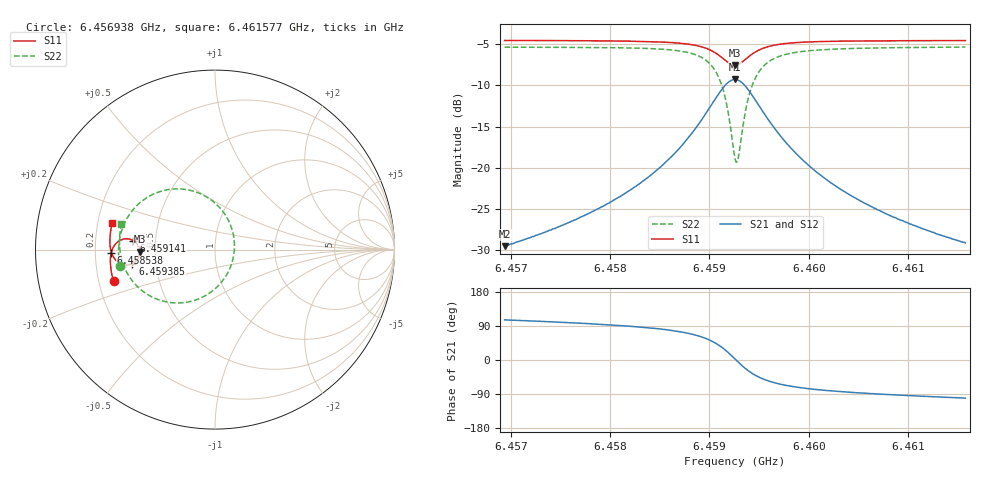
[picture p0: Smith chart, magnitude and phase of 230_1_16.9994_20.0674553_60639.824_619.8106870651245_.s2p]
#  HZ  S  RI  R  50.00
! Rohde & Schwarz Vector Network Analyzer
! Rohde-Schwarz,ZNB20-2Port,1311601062101988,3.16
! Created: UTC 3/20/2024, 11:02:20 PM
! freq[Hz]  re:S11  im:S11  re:S21  im:S21  re:S12  im:S12  re:S22  im:S22
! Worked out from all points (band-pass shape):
!   401 points, 6.456938 GHz to 6.461577 GHz, reference 50 ohm
!   highest |S21| = -9.28 dB at 6.459257 GHz (marker M1); lowest = -29.5 dB at 6.456938 GHz (marker M2)
!   |S21| within 3 dB of the highest: 6.459025 GHz to 6.459489 GHz (463.6 kHz wide, 0.00718 % of centre)
!   lowest |S11| = -7.6 dB at 6.459257 GHz (marker M3), VSWR 2.44, Z = 20.5 - j0.618 ohm
!   |S11| at or under -10 dB: nowhere
!   |S22| runs from -19.3 to -5.3 dB; largest |S21 - S12| = 0.013
!   S11 on the Smith chart (normalised r, x): 6.456938 GHz: 0.26, -0.14; 6.458538 GHz: 0.27, -0.01; 6.459141 GHz: 0.37, +0.05; 6.459385 GHz: 0.37, -0.07; 6.461577 GHz: 0.26, +0.12
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6.4569382e9  -0.5653 -0.1762  -0.00915 0.0321  -0.00745 0.0322  -0.5308 -0.092
6.4577151e9  -0.58 -0.1084  -0.00605 0.0501  -0.00345 0.0496  -0.5374 -0.00152
6.458121e9  -0.5831 -0.0682  -0.000753 0.068  0.00251 0.0668  -0.5307 0.0619
6.4584921e9  -0.5797 -0.0243  0.0135 0.0982  0.0174 0.0956  -0.5054 0.1441
6.4585384e9  -0.5784 -0.0179  0.0167 0.1038  0.0208 0.1007  -0.4992 0.1573
6.4587472e9  -0.5662 0.0139  0.0426 0.1353  0.0468 0.1307  -0.4509 0.229
6.4588979e9  -0.5451 0.0403  0.0849 0.1659  0.0882 0.1593  -0.3729 0.2937
6.4590487e9  -0.4991 0.0601  0.1765 0.1852  0.1776 0.1778  -0.2057 0.3384
6.4591414e9  -0.4548 0.0501  0.2661 0.1545  0.2666 0.1486  -0.0396 0.2892
6.4591878e9  -0.4336 0.0314  0.3097 0.1118  0.3111 0.1066  0.0431 0.2135
6.4592574e9  -0.4189 -0.0124  0.343 0.0157  0.3467 0.00863  0.1082 0.0348
6.459269e9  -0.4192 -0.0206  0.343 -0.00212  0.3467 -0.00969  0.1079 0.0014
6.4592922e9  -0.4228 -0.036  0.3374 -0.0366  0.3413 -0.0457  0.0972 -0.064
6.4593386e9  -0.4383 -0.0619  0.3092 -0.0962  0.3115 -0.1079  0.0401 -0.1764
6.459385e9  -0.4601 -0.078  0.2676 -0.137  0.2669 -0.15  -0.0438 -0.251
6.4594777e9  -0.5032 -0.0848  0.1836 -0.1682  0.1776 -0.1797  -0.2111 -0.2974
6.4596285e9  -0.5469 -0.0645  0.0964 -0.1549  0.088 -0.1611  -0.3776 -0.2491
6.4597908e9  -0.5683 -0.0368  0.0518 -0.1275  0.0442 -0.1304  -0.4578 -0.178
6.4600343e9  -0.5811 -0.00129  0.0226 -0.0964  0.0168 -0.097  -0.5059 -0.0962
6.460359e9  -0.5856 0.0372  0.00729 -0.0712  0.00317 -0.0707  -0.5272 -0.0216
6.4608113e9  -0.5839 0.0828  -0.00131 -0.0515  -0.00395 -0.0508  -0.5324 0.0508
6.4615766e9  -0.5716 0.1504  -0.00641 -0.0344  -0.00805 -0.0334  -0.5214 0.141
